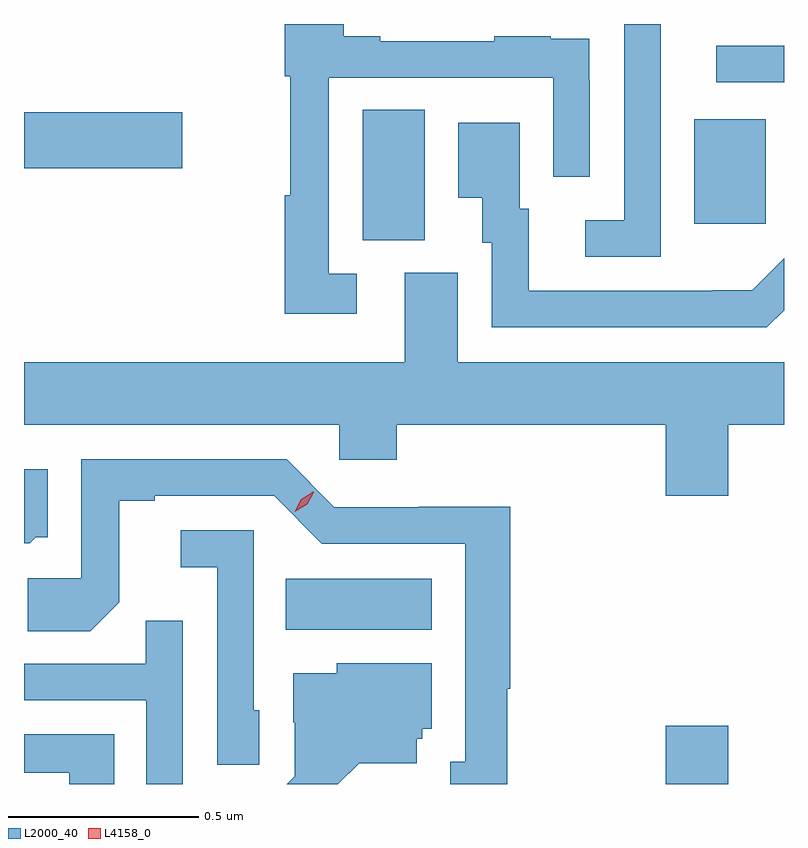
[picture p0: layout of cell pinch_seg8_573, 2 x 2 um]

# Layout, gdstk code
import gdstk
lib = gdstk.Library(unit=1e-6, precision=1e-09)
def R(c, l, rs):  # rectangles x0, y0, x1, y1
    for r in rs: c.add(gdstk.rectangle(r[:2], r[2:], *l))
def P(c, l, *ps):  # polygons
    for p in ps: c.add(gdstk.Polygon(p, *l))
L2000_40 = (2000, 40)
L4158_0 = (4158, 0)

pinch_seg8_573 = lib.new_cell('pinch_seg8_573')
R(pinch_seg8_573, L2000_40, [(141.032,1116.886,141.196,1117.039), (140.032,1117.292,140.416,1117.426), (140.234,1118.317,140.398,1118.66), (141.107,1118.361,141.295,1118.635), (139.343,1118.507,139.759,1118.654), (141.165,1118.733,141.343,1118.829)])
P(pinch_seg8_573, L2000_40, [(140.218,1118.229),(140.145,1118.229),(140.145,1118.745),(140.736,1118.745),(140.736,1118.484),(140.832,1118.484),(140.832,1118.738),(140.831,1118.738),(140.831,1118.847),(140.729,1118.847),(140.729,1118.854),(140.581,1118.854),(140.581,1118.841),(140.281,1118.841),(140.281,1118.854),(140.185,1118.854),(140.185,1118.886),(140.029,1118.886),(140.029,1118.748),(140.044,1118.748),(140.044,1118.436),(140.029,1118.436),(140.029,1118.124),(140.218,1118.124)],
  [(141.018,1118.731),(141.019,1118.731),(141.019,1118.886),(140.922,1118.886),(140.922,1118.37),(140.82,1118.37),(140.82,1118.274),(141.018,1118.274)],
  [(141.343,1118.133),(141.343,1118.269),(141.259,1118.185),(141.155,1118.185),(141.155,1118.184),(140.671,1118.184),(140.671,1118.4),(140.647,1118.4),(140.647,1118.626),(140.486,1118.626),(140.486,1118.429),(140.549,1118.429),(140.549,1118.31),(140.574,1118.31),(140.574,1118.088),(141.298,1118.088)],
  [(141.196,1117.832),(141.343,1117.832),(141.343,1117.996),(140.485,1117.996),(140.485,1118.232),(140.345,1118.232),(140.345,1117.996),(139.343,1117.996),(139.343,1117.832),(140.172,1117.832),(140.172,1117.739),(140.324,1117.739),(140.324,1117.832),(141.032,1117.832),(141.032,1117.644),(141.196,1117.644)],
  [(140.615,1117.137),(140.623,1117.137),(140.623,1117.616),(140.382,1117.616),(140.382,1117.614),(140.16,1117.614),(140.034,1117.74),(139.494,1117.74),(139.494,1117.428),(139.353,1117.428),(139.353,1117.288),(139.517,1117.288),(139.593,1117.364),(139.593,1117.632),(139.687,1117.632),(139.687,1117.644),(140.001,1117.644),(140.127,1117.518),(140.504,1117.518),(140.504,1116.945),(140.465,1116.945),(140.465,1116.886),(140.615,1116.886)],
  [(139.374,1117.536),(139.405,1117.536),(139.405,1117.714),(139.343,1117.714),(139.343,1117.52),(139.358,1117.52)],
  [(139.962,1117.08),(139.947,1117.08),(139.947,1117.554),(139.755,1117.554),(139.755,1117.457),(139.851,1117.457),(139.851,1116.937),(139.962,1116.937)],
  [(139.761,1117.316),(139.663,1117.316),(139.663,1117.203),(139.343,1117.203),(139.343,1117.107),(139.665,1117.107),(139.665,1116.886),(139.761,1116.886)],
  [(140.225,1116.941),(140.377,1116.941),(140.377,1117.005),(140.391,1117.005),(140.391,1117.032),(140.416,1117.032),(140.416,1117.204),(140.166,1117.204),(140.166,1117.177),(140.051,1117.177),(140.051,1117.048),(140.055,1117.048),(140.055,1116.906),(140.035,1116.886),(140.169,1116.886)],
  [(139.58,1117.017),(139.343,1117.017),(139.343,1116.916),(139.462,1116.916),(139.462,1116.886),(139.58,1116.886)])
P(pinch_seg8_573, L4158_0, [(140.056,1117.602),(140.056,1117.602),(140.073,1117.635),(140.104,1117.655),(140.105,1117.655),(140.105,1117.654),(140.088,1117.622),(140.056,1117.602)])

lib.write_gds('pinch_seg8_573.gds')
